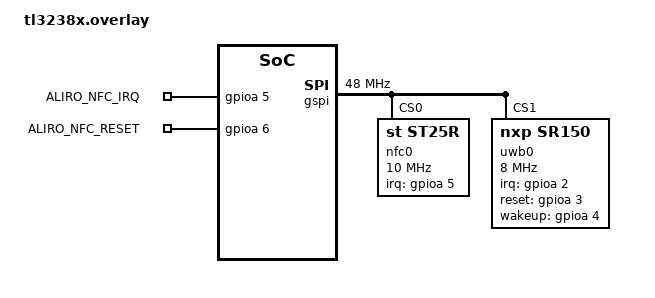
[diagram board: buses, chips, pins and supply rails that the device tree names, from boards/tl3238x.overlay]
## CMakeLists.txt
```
#
#    Copyright (c) 2023-2024 Project CHIP Authors
#
#    Licensed under the Apache License, Version 2.0 (the "License");
#    you may not use this file except in compliance with the License.
#    You may obtain a copy of the License at
#
#        http://www.apache.org/licenses/LICENSE-2.0
#
#    Unless required by applicable law or agreed to in writing, software
#    distributed under the License is distributed on an "AS IS" BASIS,
#    WITHOUT WARRANTIES OR CONDITIONS OF ANY KIND, either express or implied.
#    See the License for the specific language governing permissions and
#    limitations under the License.
#

cmake_minimum_required(VERSION 3.20)

if(POLICY CMP0135)
  cmake_policy(SET CMP0135 NEW)
endif()

include(FetchContent)

get_filename_component(CHIP_ROOT ${CMAKE_CURRENT_SOURCE_DIR}/third_party/connectedhomeip REALPATH)
get_filename_component(TELINK_COMMON ${CHIP_ROOT}/examples/platform/telink REALPATH)
get_filename_component(GEN_DIR ${CHIP_ROOT}/zzz_generated/ REALPATH)

set(TELINK_ALIRO_SDK_URL
    "https://doc.telink-semi.cn/Zephyr/binaries/public/aliro/telink-aliro-sdk-latest.tar.gz"
    CACHE STRING "Telink Aliro SDK archive URL"
)

if(FETCHCONTENT_SOURCE_DIR_TELINK_ALIRO)
  FetchContent_Declare(telink_aliro
    SOURCE_DIR "${FETCHCONTENT_SOURCE_DIR_TELINK_ALIRO}"
    SOURCE_SUBDIR cmake
  )
else()
  if(NOT TELINK_ALIRO_SDK_URL)
    message(FATAL_ERROR
      "TELINK_ALIRO_SDK_URL is not set. Provide the published SDK URL or "
      "-DFETCHCONTENT_SOURCE_DIR_TELINK_ALIRO=/path/to/telink_aliro."
    )
  endif()

  FetchContent_Declare(telink_aliro
    URL "${TELINK_ALIRO_SDK_URL}"
    TLS_VERIFY TRUE
    SOURCE_SUBDIR cmake
  )
endif()

# Populate bindings before Zephyr processes the overlay; build the SDK below.
FetchContent_MakeAvailable(telink_aliro)
list(APPEND DTS_ROOT
  "${telink_aliro_SOURCE_DIR}"
  "${telink_aliro_SOURCE_DIR}/src/drivers/st25r/zephyr"
)

set(ENV{TELINK_ALIRO_ROOT} "${telink_aliro_SOURCE_DIR}")

include(${TELINK_COMMON}/common.cmake)
include(${CHIP_ROOT}/config/telink/app/enable-gnu-std.cmake)
include(${CHIP_ROOT}/src/app/chip_data_model.cmake)

project(chip-telink-lock-aliro-minimal-example)

if(CONFIG_SOC_RISCV_TELINK_TL721X)
  if(NOT CONFIG_FLASH_SIZE EQUAL 2048)
    message(FATAL_ERROR "The Tercel application partition layout requires 2 MiB of flash")
  endif()
  if(CONFIG_BOOTLOADER_MCUBOOT OR CONFIG_CHIP_OTA_REQUESTOR OR
     CONFIG_CHIP_DFU_OVER_BT_SMP OR CONFIG_TELINK_OTA_BUTTON_TEST)
    message(FATAL_ERROR "The Tercel application uses a single-image flash layout; bootloader and OTA are not supported")
  endif()
  if(NOT CONFIG_USE_DT_CODE_PARTITION)
    message(FATAL_ERROR "Enable CONFIG_USE_DT_CODE_PARTITION to protect Tercel's factory data and Matter settings")
  endif()
endif()

if(NOT CONFIG_ALIRO_TRANSPORT_NFC AND NOT CONFIG_ALIRO_TRANSPORT_BLE)
  message(FATAL_ERROR "Enable at least one Aliro transport")
endif()

if(CONFIG_ALIRO_TRANSPORT_BLE AND CONFIG_BT_BONDABLE)
  message(FATAL_ERROR "Aliro reserves Bluetooth identity 1; set CONFIG_BT_BONDABLE=n to keep Matter on identity 0")
endif()

if(CONFIG_ALIRO_TRANSPORT_BLE AND CONFIG_SOC_RISCV_TELINK_TLX AND NOT CONFIG_IEEE802154_TLX_BLE_COEXIST)
  message(FATAL_ERROR
    "Aliro BLE requires CONFIG_IEEE802154_TLX_BLE_COEXIST=y and the matching concurrent controller. "
    "Use EXTRA_CONF_FILE=prj_ble.conf."
  )
endif()

if(CONFIG_ALIRO_TRANSPORT_NFC OR CONFIG_ALIRO_TRANSPORT_BLE)
  add_subdirectory(
    "${telink_aliro_SOURCE_DIR}/cmake/zephyr"
    "${telink_aliro_BINARY_DIR}"
  )

  target_link_libraries(app PRIVATE Telink::Aliro)
endif()

target_include_directories(app PRIVATE
  include
  ${GEN_DIR}/app-common
  ${GEN_DIR}/lock-app
  ${TELINK_COMMON}/common/include
  ${TELINK_COMMON}/util/include
  ${TELINK_COMMON}/app/include
  ${TELINK_COMMON}/zephyr_ext
)

target_sources(app PRIVATE
  src/AppTask.cpp
  src/AliroDelegate.cpp
  src/ZclCallbacks.cpp
  src/LockManager.cpp
  ${TELINK_COMMON}/common/src/mainCommon.cpp
  ${TELINK_COMMON}/common/src/AppTaskCommon.cpp
  ${TELINK_COMMON}/util/src/LEDManager.cpp
  ${TELINK_COMMON}/util/src/ButtonManager.cpp
  ${TELINK_COMMON}/util/src/ThreadUtil.cpp
  ${TELINK_COMMON}/util/src/PWMManager.cpp
  ${TELINK_COMMON}/zephyr_ext/zephyr_key_matrix.c
  ${TELINK_COMMON}/zephyr_ext/zephyr_led_pool.c
  ${TELINK_COMMON}/zephyr_ext/zephyr_pwm_pool.c
)

chip_configure_data_model(app
  ZAP_FILE ${CMAKE_CURRENT_SOURCE_DIR}/lock-app-minimal.zap
)

if(CONFIG_BOOTLOADER_MCUBOOT)
  target_sources(app PRIVATE ${TELINK_COMMON}/util/src/OTAUtil.cpp)
endif()

if(CONFIG_MCUMGR_TRANSPORT_BT)
  zephyr_library_link_libraries(MCUBOOT_BOOTUTIL)
  target_sources(app PRIVATE ${TELINK_COMMON}/util/src/DFUOverSMP.cpp)
endif()
```

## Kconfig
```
#
#    Copyright (c) 2023 Project CHIP Authors
#
#    Licensed under the Apache License, Version 2.0 (the "License");
#    you may not use this file except in compliance with the License.
#    You may obtain a copy of the License at
#
#        http://www.apache.org/licenses/LICENSE-2.0
#
#    Unless required by applicable law or agreed to in writing, software
#    distributed under the License is distributed on an "AS IS" BASIS,
#    WITHOUT WARRANTIES OR CONDITIONS OF ANY KIND, either express or implied.
#    See the License for the specific language governing permissions and
#    limitations under the License.
#
mainmenu "Matter Telink Lock Example Application"

# Tercel's app-local partition map reserves factory data and Matter settings.
config HAS_FLASH_LOAD_OFFSET
    default y if SOC_RISCV_TELINK_TL721X

config USE_DT_CODE_PARTITION
    default y if SOC_RISCV_TELINK_TL721X

config SETTINGS_NVS_NAME_CACHE
    default y

config SETTINGS_NVS_NAME_CACHE_SIZE
    default 256

config ALIRO_CSA_BLE_TEST_CREDENTIALS
    default n

menu "Aliro configuration"

config ALIRO_TRANSPORT_NFC
    default y
    select GPIO
    select SPI


config ALIRO_TRANSPORT_BLE
    default n if SOC_RISCV_TELINK_TL323X
    default y if SOC_RISCV_TELINK_TL721X
    select BT
    select GPIO
    select SPI
    select BT_PERIPHERAL
    select BT_HOST_CRYPTO
    select BT_SMP
    select BT_L2CAP_DYNAMIC_CHANNEL
    # BLE enables PSA crypto; Matter's CSR signing needs deterministic ECDSA.
    select PSA_WANT_ALG_DETERMINISTIC_ECDSA
config ALIRO_ONLY_BLE_FLOW_SUPP
    default y

config ALIRO_BLE_UWB_FLOW_SUPP
    default y

config ALIRO_NFC_POLLER_THREAD_STACK_SIZE
    default 4096

config ALIRO_LOG_LEVEL
    range 0 4
    default 3
    help
      Keep protocol logging at informational level for normal builds. Level 4
      exposes ephemeral and derived transaction keys and is for controlled
      development only.
config ALIRO_FAST_TRANSACTION
    default n

config ALIRO_KEYSLOT_CREDENTIALS
    default n

endmenu

rsource "../../../config/telink/chip-module/Kconfig.defaults"

source "$(TELINK_ALIRO_ROOT)/Kconfig"
```

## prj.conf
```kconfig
#
#    Copyright (c) 2023-2024 Project CHIP Authors
#
#    Licensed under the Apache License, Version 2.0 (the "License");
#    you may not use this file except in compliance with the License.
#    You may obtain a copy of the License at
#
#        http://www.apache.org/licenses/LICENSE-2.0
#
#    Unless required by applicable law or agreed to in writing, software
#    distributed under the License is distributed on an "AS IS" BASIS,
#    WITHOUT WARRANTIES OR CONDITIONS OF ANY KIND, either express or implied.
#    See the License for the specific language governing permissions and
#    limitations under the License.
#

# This sample uses Kconfig.defaults to set options common for all
# samples. This file should contain only options specific for this sample
# or overrides of default values.

# Enable CHIP
CONFIG_CHIP=y
CONFIG_STD_CPP17=y

# 32774 == 0x8006 (example lock-app)
CONFIG_CHIP_DEVICE_PRODUCT_ID=32774

CONFIG_BT_DEVICE_NAME="TelinkAliro"

# Disable Matter OTA DFU
CONFIG_CHIP_OTA_REQUESTOR=n
CONFIG_CHIP_DEVICE_SOFTWARE_VERSION=1

# Disable CHIP shell support
CONFIG_CHIP_LIB_SHELL=n

CONFIG_CHIP_PERSISTENT_SUBSCRIPTIONS=y
CONFIG_CHIP_MAX_FABRICS=2

# Disable factory data support
CONFIG_CHIP_FACTORY_DATA=n
CONFIG_CHIP_FACTORY_DATA_BUILD=n
CONFIG_CHIP_FACTORY_DATA_MERGE_WITH_FIRMWARE=n

# Telink PM integration is a separate pass from Aliro linkability.
CONFIG_PM=n
CONFIG_CHIP_THREAD_DEVICE_ROLE_END_DEVICE=y

CONFIG_ALIRO_LOG_LEVEL=4
CONFIG_ALIRO_FAST_TRANSACTION=n
CONFIG_ALIRO_KEYSLOT_CREDENTIALS=n
CONFIG_BT_MAX_CONN=1

# Match the TL3238 production BLE controller sizing. The common defaults on
# this branch otherwise fall through to 712 bytes and overflow in bt_hci_recv().
CONFIG_TL_BLE_CTRL_THREAD_STACK_SIZE=1536

# NFC frontend support used by the Aliro ECP poller.

# Aliro crypto requirements not already guaranteed by Matter defaults.
CONFIG_MBEDTLS_SHA1=y
CONFIG_MBEDTLS_HMAC_DRBG_ENABLED=y
CONFIG_MBEDTLS_MD=y
CONFIG_MBEDTLS_CIPHER_GCM_ENABLED=y

# Keep Matter's standard Telink malloc arena. Reducing this to 16 KiB exhausts
# the libc heap during Operational Credentials CSR generation.
CONFIG_COMMON_LIBC_MALLOC_ARENA_SIZE=26584
CONFIG_HEAP_MEM_POOL_SIZE=1796

# Probe-only RAM trims. These need product validation before becoming real defaults.
CONFIG_MAIN_STACK_SIZE=3560
CONFIG_SYSTEM_WORKQUEUE_STACK_SIZE=1024

# SRP/DNS-SD service publication can exceed 2 KiB with multiple fabrics. The
# previous RAM-trim value produced a confirmed Zephyr stack-sentinel fault in
# the OpenThread thread.
CONFIG_OPENTHREAD_THREAD_STACK_SIZE=4096
CONFIG_OPENTHREAD_NUM_MESSAGE_BUFFERS=32

CONFIG_NET_PKT_RX_COUNT=4
CONFIG_NET_PKT_TX_COUNT=4
CONFIG_NET_BUF_RX_COUNT=8
# A full ecosystem subscription report requires more than eight 128-byte
# fragments. Keep the standard Telink lock-app TX buffer count.
CONFIG_NET_BUF_TX_COUNT=12

CONFIG_NVS_LOOKUP_CACHE_SIZE=128
CONFIG_SETTINGS_NVS_NAME_CACHE_SIZE=64
CONFIG_SETTINGS_NVS_SECTOR_COUNT=4

# Preload the public CSA Test Tool credentials used for BLE-only/BLE+UWB scenarios.
CONFIG_ALIRO_CSA_BLE_TEST_CREDENTIALS=y

# BLE
CONFIG_ALIRO_BT_POLLER_THREAD_STACK_SIZE=4096
CONFIG_TL_BLE_CTRL_SLAVE_MAX_NUM=1
CONFIG_BT_ID_MAX=2
CONFIG_BT_BONDABLE=n
CONFIG_BT_EXT_ADV=n
CONFIG_BT_AUTO_PHY_UPDATE=n
CONFIG_BT_L2CAP_SEG_RECV=y
CONFIG_BT_L2CAP_TX_MTU=247
CONFIG_BT_BUF_EVT_RX_SIZE=255
CONFIG_BT_BUF_ACL_RX_SIZE=255
CONFIG_BT_BUF_ACL_TX_SIZE=251
CONFIG_BT_BUF_CMD_TX_SIZE=255

# Aliro APDU transport uses a dynamically allocated LE L2CAP channel.
CONFIG_BT_L2CAP_DYNAMIC_CHANNEL=y
# The RX callback copies a complete Aliro frame into the reader's queue.
CONFIG_BT_RX_STACK_SIZE=3072

# Run BLE and Thread concurrently on the Telink controller.
CONFIG_IEEE802154_TLX_BLE_COEXIST=y
CONFIG_DYNAMIC_INTERRUPTS=y
CONFIG_TL_BLE_CTRL_THREAD_STACK_SIZE=8192

# Transport types
# CONFIG_ALIRO_TRANSPORT_NFC=y
# CONFIG_ALIRO_TRANSPORT_BLE=y
# CONFIG_ALIRO_ONLY_BLE_FLOW_SUPP=y
# CONFIG_ALIRO_BLE_UWB_FLOW_SUPP=y
```

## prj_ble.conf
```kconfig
# Aliro BLE transport configuration for TL7218X.
CONFIG_ALIRO_TRANSPORT_NFC=n
CONFIG_ALIRO_TRANSPORT_BLE=y
CONFIG_ALIRO_BT_POLLER_THREAD_STACK_SIZE=4096
CONFIG_ALIRO_FAST_TRANSACTION=n

# Preload the public CSA Test Tool credentials used by this Stage 2 BLE release.
CONFIG_ALIRO_CSA_TEST_CREDENTIALS=y

# Matter and Aliro use separate Bluetooth identities.
CONFIG_BT_MAX_CONN=1
CONFIG_TL_BLE_CTRL_SLAVE_MAX_NUM=1
CONFIG_BT_ID_MAX=2
CONFIG_BT_BONDABLE=n
CONFIG_BT_EXT_ADV=n

# Aliro APDU transport uses a dynamically allocated LE L2CAP channel.
CONFIG_BT_L2CAP_DYNAMIC_CHANNEL=y
# The RX callback copies a complete Aliro frame into the reader's queue.
CONFIG_BT_RX_STACK_SIZE=3072

# Run BLE and Thread concurrently on the Telink controller.
CONFIG_IEEE802154_TLX_BLE_COEXIST=y
CONFIG_DYNAMIC_INTERRUPTS=y
CONFIG_TL_BLE_CTRL_THREAD_STACK_SIZE=8192
```

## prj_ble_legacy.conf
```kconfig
# TL7218X standard RKE using the existing single-advertiser controller.
# Use instead of prj_ble.conf. Matter commissioning takes advertising priority;
# Aliro advertises after commissioning closes, while Matter runs over Thread.
CONFIG_ALIRO_TRANSPORT_NFC=n
CONFIG_ALIRO_TRANSPORT_BLE=y
CONFIG_ALIRO_FAST_TRANSACTION=n
CONFIG_ALIRO_BT_POLLER_THREAD_STACK_SIZE=4096

CONFIG_BT_MAX_CONN=1
CONFIG_TL_BLE_CTRL_SLAVE_MAX_NUM=1
CONFIG_BT_ID_MAX=2
CONFIG_BT_BONDABLE=n
CONFIG_BT_EXT_ADV=n
CONFIG_BT_L2CAP_DYNAMIC_CHANNEL=y
CONFIG_BT_RX_STACK_SIZE=3072

# BLE and Thread still share the radio, even with a single BLE advertiser.
CONFIG_IEEE802154_TLX_BLE_COEXIST=y
CONFIG_DYNAMIC_INTERRUPTS=y
CONFIG_TL_BLE_CTRL_THREAD_STACK_SIZE=8192
```

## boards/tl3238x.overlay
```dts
/ {
	aliases {
		gspi-0 = &gspi;
		fmirq = &aliro_nfc_irq;
		fmreset = &aliro_nfc_reset;
	};

	keys {
		compatible = "gpio-keys";

		aliro_nfc_irq: aliro_nfc_irq {
			label = "ALIRO_NFC_IRQ";
			gpios = <&gpioa 5 (GPIO_ACTIVE_HIGH | GPIO_PULL_DOWN)>;
		};
	};

	leds {
		compatible = "gpio-leds";

		aliro_nfc_reset: aliro_nfc_reset {
			label = "ALIRO_NFC_RESET";
			gpios = <&gpioa 6 GPIO_ACTIVE_HIGH>;
		};
	};

	led_pool {
		out {
			gpios = <&gpioc 0 GPIO_ACTIVE_HIGH>,
				<&gpioc 1 GPIO_ACTIVE_HIGH>;
		};
	};
};

&gpioa {
	interrupts = <39 1>;
	status = "okay";
};

&gspi {
	clock-frequency = <48000000>;
	label = "SPI_0";

	cs0-pin = "GPIO_PE4";
	cs1-pin = "GPIO_PA1";

	nfc0: st25r@0 {
		compatible = "st,st25r";
		reg = <0>;
		spi-max-frequency = <10000000>;
		irq-gpios = <&gpioa 5 (GPIO_ACTIVE_HIGH | GPIO_PULL_DOWN)>;
	};

	uwb0: sr150@1 {
		compatible = "nxp,sr150";
		reg = <1>;
		spi-max-frequency = <8000000>;
		irq-gpios = <&gpioa 2 (GPIO_ACTIVE_HIGH | GPIO_PULL_DOWN)>;
		reset-gpios = <&gpioa 3 GPIO_ACTIVE_HIGH>;
		wakeup-gpios = <&gpioa 4 GPIO_ACTIVE_HIGH>;
	};
};

/ {
	soc {
		/delete-node/ memory@68000;
		/delete-node/ memory@80000;

		ram_ilm: memory@68000 {
			compatible = "mmio-sram";
			reg = <0x00068000 0x00020000>;
		};

		ram_ilm_non_retention: memory@88000 {
			compatible = "mmio-sram";
			reg = <0x00088000 0x00008000>;
		};
	};

	chosen {
		zephyr,sram = &ram_ilm;
	};
};
```

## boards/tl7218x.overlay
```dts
/ {
	aliases {
		fmirq = &aliro_nfc_irq;
		fmreset = &aliro_nfc_reset;
	};

	keys {
		compatible = "gpio-keys";

		aliro_nfc_irq: aliro_nfc_irq {
			label = "ALIRO_NFC_IRQ";
			gpios = <&gpiod 0 (GPIO_ACTIVE_HIGH | GPIO_PULL_DOWN)>;
		};
	};

	leds {
		compatible = "gpio-leds";

		aliro_nfc_reset: aliro_nfc_reset {
			gpios = <&gpiod 1 GPIO_ACTIVE_HIGH>;
			label = "ALIRO_NFC_RESET";
		};
	};
};

&gpioc {
	interrupts = <27 1>;
	status = "okay";
};

&lspi {
	nfc0: st25r@0 {
		compatible = "st,st25r";
		reg = <0>;
		spi-max-frequency = <10000000>;
		irq-gpios = <&gpiod 0 (GPIO_ACTIVE_HIGH | GPIO_PULL_DOWN)>;
	};
};

&gspi {
	uwb0: sr150@0 {
		compatible = "nxp,sr150";
		reg = <0>;
		spi-max-frequency = <8000000>;
		irq-gpios = <&gpioc 4 (GPIO_ACTIVE_HIGH | GPIO_PULL_DOWN)>;
		reset-gpios = <&gpioc 5 GPIO_ACTIVE_HIGH>;
		wakeup-gpios = <&gpioc 6 GPIO_ACTIVE_HIGH>;
	};
};

/* one application image with OTA disabled, including SR150 firmware. */
&flash {
	/delete-node/ partitions;
	partitions {
		compatible = "fixed-partitions";
		#address-cells = <1>;
		#size-cells = <1>;

		slot0_partition: partition@0 {
			label = "image-0";
			reg = <0x0 0x1f1000>;
		};

		factory_partition: partition@1f1000 {
			label = "factory-data";
			reg = <0x1f1000 0x1000>;
		};

		storage_partition: partition@1f2000 {
			label = "storage";
			reg = <0x1f2000 0xc000>;
		};

		vendor_partition: partition@1fe000 {
			label = "vendor-data";
			reg = <0x1fe000 0x2000>;
		};
	};
};
```

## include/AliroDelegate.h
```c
/*
 *
 *    Copyright (c) 2026 Project CHIP Authors
 *    All rights reserved.
 *
 *    Licensed under the Apache License, Version 2.0 (the "License");
 *    you may not use this file except in compliance with the License.
 *    You may obtain a copy of the License at
 *
 *        http://www.apache.org/licenses/LICENSE-2.0
 *
 *    Unless required by applicable law or agreed to in writing, software
 *    distributed under the License is distributed on an "AS IS" BASIS,
 *    WITHOUT WARRANTIES OR CONDITIONS OF ANY KIND, either express or implied.
 *    See the License for the specific language governing permissions and
 *    limitations under the License.
 */

#pragma once

#include <AppConfig.h>
#include <app/clusters/door-lock-server/door-lock-delegate.h>
#include <app/clusters/door-lock-server/door-lock-server.h>

class AliroDelegate : public chip::app::Clusters::DoorLock::Delegate
{
public:
    static AliroDelegate & GetInstance() { return sInstance; }

    AliroDelegate(const AliroDelegate &)             = delete;
    AliroDelegate & operator=(const AliroDelegate &) = delete;

    // DoorLock::Delegate interface
    CHIP_ERROR GetAliroReaderVerificationKey(chip::MutableByteSpan & verificationKey) override;
    CHIP_ERROR GetAliroReaderGroupIdentifier(chip::MutableByteSpan & groupIdentifier) override;
    CHIP_ERROR GetAliroReaderGroupSubIdentifier(chip::MutableByteSpan & groupSubIdentifier) override;
    CHIP_ERROR GetAliroExpeditedTransactionSupportedProtocolVersionAtIndex(size_t index,
                                                                           chip::MutableByteSpan & protocolVersion) override;
    CHIP_ERROR GetAliroGroupResolvingKey(chip::MutableByteSpan & groupResolvingKey) override;
    CHIP_ERROR GetAliroSupportedBLEUWBProtocolVersionAtIndex(size_t index, chip::MutableByteSpan & protocolVersion) override;
    uint8_t GetAliroBLEAdvertisingVersion() override;
    uint16_t GetNumberOfAliroCredentialIssuerKeysSupported() override;
    uint16_t GetNumberOfAliroEndpointKeysSupported() override;
    CHIP_ERROR SetAliroReaderConfig(const chip::ByteSpan & signingKey, const chip::ByteSpan & verificationKey,
                                    const chip::ByteSpan & groupIdentifier,
                                    const chip::Optional<chip::ByteSpan> & groupResolvingKey) override;
    CHIP_ERROR ClearAliroReaderConfig() override;

    CHIP_ERROR RestoreAliroState();
    CHIP_ERROR StartAliroTransports();

    // Aliro credential storage - called from LockManager
    static bool IsAliroCredentialType(CredentialTypeEnum type);
    bool GetCredential(uint16_t index, CredentialTypeEnum type, EmberAfPluginDoorLockCredentialInfo & out);
    bool SetCredential(uint16_t index, chip::FabricIndex creator, chip::FabricIndex modifier, DlCredentialStatus status,
                       CredentialTypeEnum type, const chip::ByteSpan & data);
    bool FindEndpointKey(const chip::ByteSpan & key, CredentialTypeEnum & type, uint16_t & index) const;
    bool HasEndpointKey(CredentialTypeEnum type, uint16_t index) const;

private:
    AliroDelegate() = default;

    CHIP_ERROR CopyProtocolVersionIntoSpan(uint16_t protocolVersionValue, chip::MutableByteSpan & protocolVersion);

    // Aliro provisioning state
    uint8_t mAliroReaderVerificationKey[chip::app::Clusters::DoorLock::kAliroReaderVerificationKeySize];
    uint8_t mAliroReaderGroupIdentifier[chip::app::Clusters::DoorLock::kAliroReaderGroupIdentifierSize];
    uint8_t mAliroReaderGroupSubIdentifier[chip::app::Clusters::DoorLock::kAliroReaderGroupSubIdentifierSize];
    uint8_t mAliroGroupResolvingKey[chip::app::Clusters::DoorLock::kAliroGroupResolvingKeySize];
    bool mAliroStateInitialized = false;
    bool mAliroHasGroupResolvingKey = false;
    bool mAliroStorageRestored = false;
    bool mAliroNfcStarted = false;
    bool mAliroBleStarted = false;

    // Aliro credential cache, backed by persistent storage
    static constexpr size_t kAliroCredentialMaxSize = 65;

    struct CredentialSlot
    {
        DlCredentialStatus status             = DlCredentialStatus::kAvailable;
        CredentialTypeEnum type               = CredentialTypeEnum::kUnknownEnumValue;
        uint16_t index                        = 0;
        chip::FabricIndex createdBy           = 0;
        chip::FabricIndex lastModifiedBy      = 0;
        size_t dataSize                       = 0;
        uint8_t data[kAliroCredentialMaxSize] = { 0 };
    };

    static bool IsEndpointCredentialType(CredentialTypeEnum type);
    CredentialSlot * FindSlot(uint16_t index, CredentialTypeEnum type);
    const CredentialSlot * FindSlot(uint16_t index, CredentialTypeEnum type) const;
    CredentialSlot * FindAvailableEndpointSlot();
    size_t SlotCountForType(CredentialTypeEnum type) const;

    CredentialSlot mIssuerKeys[APP_MAX_ALIRO_ISSUER_KEYS];
    CredentialSlot mEndpointKeys[APP_MAX_ALIRO_ENDPOINT_KEYS];

    static AliroDelegate sInstance;
};
```

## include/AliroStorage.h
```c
/*
 *
 *    Copyright (c) 2026 Project CHIP Authors
 *    All rights reserved.
 *
 *    Licensed under the Apache License, Version 2.0 (the "License");
 *    you may not use this file except in compliance with the License.
 *    You may obtain a copy of the License at
 *
 *        http://www.apache.org/licenses/LICENSE-2.0
 *
 *    Unless required by applicable law or agreed to in writing, software
 *    distributed under the License is distributed on an "AS IS" BASIS,
 *    WITHOUT WARRANTIES OR CONDITIONS OF ANY KIND, either express or implied.
 *    See the License for the specific language governing permissions and
 *    limitations under the License.
 */

#pragma once

#include <lib/core/CHIPError.h>
#include <platform/KeyValueStoreManager.h>
#include <stddef.h>
#include <stdint.h>

namespace AliroStorage {

constexpr uint32_t kRecordVersion = 1;
constexpr size_t kSigningKeySize = 32;
constexpr char kReaderConfigKey[] = "aliro/reader";

struct ReaderConfig
{
    uint32_t version;
    uint8_t signingKey[kSigningKeySize];
    uint8_t verificationKey[65];
    uint8_t groupIdentifier[16];
    uint8_t groupSubIdentifier[16];
    uint8_t groupResolvingKey[16];
    uint8_t hasGroupResolvingKey;
};

struct Credential
{
    uint32_t version;
    uint16_t index;
    uint16_t dataSize;
    uint8_t type;
    uint8_t status;
    uint8_t createdBy;
    uint8_t lastModifiedBy;
    uint8_t data[65];
};

inline CHIP_ERROR Load(const char * key, void * data, size_t size)
{
    size_t outSize = 0;
    CHIP_ERROR err = chip::DeviceLayer::PersistedStorage::KeyValueStoreMgr().Get(key, data, size, &outSize);

    if (err == CHIP_NO_ERROR && outSize != size)
    {
        return CHIP_ERROR_INVALID_ARGUMENT;
    }

    return err;
}

inline CHIP_ERROR Save(const char * key, const void * data, size_t size)
{
    return chip::DeviceLayer::PersistedStorage::KeyValueStoreMgr().Put(key, data, size);
}

inline CHIP_ERROR Remove(const char * key)
{
    CHIP_ERROR err = chip::DeviceLayer::PersistedStorage::KeyValueStoreMgr().Delete(key);

    return err == CHIP_ERROR_PERSISTED_STORAGE_VALUE_NOT_FOUND ? CHIP_NO_ERROR : err;
}

} // namespace AliroStorage
```

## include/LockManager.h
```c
/*
 *
 *    Copyright (c) 2023-2026 Project CHIP Authors
 *    All rights reserved.
 *
 *    Licensed under the Apache License, Version 2.0 (the "License");
 *    you may not use this file except in compliance with the License.
 *    You may obtain a copy of the License at
 *
 *        http://www.apache.org/licenses/LICENSE-2.0
 *
 *    Unless required by applicable law or agreed to in writing, software
 *    distributed under the License is distributed on an "AS IS" BASIS,
 *    WITHOUT WARRANTIES OR CONDITIONS OF ANY KIND, either express or implied.
 *    See the License for the specific language governing permissions and
 *    limitations under the License.
 */

#pragma once

#include <AppConfig.h>
#include <AppEventCommon.h>
#include <app/clusters/door-lock-server/door-lock-server.h>
#include <app/data-model/Nullable.h>
#include <lib/core/CHIPError.h>
#include <zephyr/kernel.h>

class LockManager
{
public:
    using CredentialRuleEnum = chip::app::Clusters::DoorLock::CredentialRuleEnum;
    using CredentialStruct   = chip::app::Clusters::DoorLock::Structs::CredentialStruct::Type;
    using CredentialTypeEnum = chip::app::Clusters::DoorLock::CredentialTypeEnum;
    using DlCredentialStatus = ::DlCredentialStatus;
    using DlLockState        = chip::app::Clusters::DoorLock::DlLockState;
    using OperationErrorEnum = chip::app::Clusters::DoorLock::OperationErrorEnum;
    using OperationSource    = chip::app::Clusters::DoorLock::OperationSourceEnum;
    using UserStatusEnum     = chip::app::Clusters::DoorLock::UserStatusEnum;
    using UserTypeEnum       = chip::app::Clusters::DoorLock::UserTypeEnum;

    enum Action_t
    {
        LOCK_ACTION = 0,
        UNLOCK_ACTION,
        INVALID_ACTION
    };

    enum State_t
    {
        kState_LockInitiated = 0,
        kState_LockCompleted,
        kState_UnlockInitiated,
        kState_UnlockCompleted,
        kState_NotFulyLocked
    };

    using StateChangeCallback = void (*)(State_t);

    CHIP_ERROR Init(chip::app::DataModel::Nullable<DlLockState> state, StateChangeCallback callback);
    CHIP_ERROR RestoreUsers();

    bool LockAction(int32_t appSource, Action_t action, OperationSource source, chip::EndpointId endpointId);
    bool LockAction(int32_t appSource, Action_t action, OperationSource source, chip::EndpointId endpointId,
                    OperationErrorEnum & err,
                    const chip::app::DataModel::Nullable<chip::FabricIndex> & fabricIdx = chip::app::DataModel::NullNullable,
                    const chip::app::DataModel::Nullable<chip::NodeId> & nodeId         = chip::app::DataModel::NullNullable,
                    const chip::Optional<chip::ByteSpan> & pinCode                      = chip::NullOptional);

    bool IsLocked() const { return mState == kState_LockCompleted; }
    State_t getLockState() const { return mState; }

    bool GetUser(chip::EndpointId endpointId, uint16_t userIndex, EmberAfPluginDoorLockUserInfo & user);
    bool SetUser(chip::EndpointId endpointId, uint16_t userIndex, chip::FabricIndex creator, chip::FabricIndex modifier,
                 const chip::CharSpan & userName, uint32_t uniqueId, UserStatusEnum userStatus, UserTypeEnum userType,
                 CredentialRuleEnum credentialRule, const CredentialStruct * credentials, size_t totalCredentials);

    bool GetCredential(chip::EndpointId endpointId, uint16_t credentialIndex, CredentialTypeEnum credentialType,
                       EmberAfPluginDoorLockCredentialInfo & credential);
    bool SetCredential(chip::EndpointId endpointId, uint16_t credentialIndex, chip::FabricIndex creator, chip::FabricIndex modifier,
                       DlCredentialStatus credentialStatus, CredentialTypeEnum credentialType,
                       const chip::ByteSpan & credentialData);
    bool ValidateAliroEndpointKey(const chip::ByteSpan & key) const;
    bool HasAliroAuthorizedEndpoint() const;

private:
    struct UserSlot
    {
        char name[DOOR_LOCK_USER_NAME_BUFFER_SIZE]                 = {};
        CredentialStruct credentials[APP_MAX_CREDENTIALS_PER_USER] = {};
        size_t credentialCount                                     = 0;
        uint32_t uniqueId                                          = 0;
        UserStatusEnum status                                      = UserStatusEnum::kAvailable;
        UserTypeEnum type                                          = UserTypeEnum::kUnrestrictedUser;
        CredentialRuleEnum credentialRule                          = CredentialRuleEnum::kSingle;
        chip::FabricIndex createdBy                                = 0;
        chip::FabricIndex lastModifiedBy                           = 0;
    };

    struct PinCredentialSlot
    {
        DlCredentialStatus status        = DlCredentialStatus::kAvailable;
        chip::FabricIndex createdBy      = 0;
        chip::FabricIndex lastModifiedBy = 0;
        size_t dataSize                  = 0;
        uint8_t data[8]                  = {};
    };

    friend LockManager & LockMgr();

    bool StartAction(Action_t action, OperationSource source, chip::EndpointId endpointId,
                     const chip::app::DataModel::Nullable<chip::FabricIndex> & fabricIdx,
                     const chip::app::DataModel::Nullable<chip::NodeId> & nodeId);
    static void ActuatorTimerEventHandler(chip::System::Layer * layer, void * context);

    static LockManager sLock;
    State_t mState                                             = kState_NotFulyLocked;
    StateChangeCallback mStateChangeCallback                   = nullptr;
    UserSlot mUsers[APP_MAX_USERS]                             = {};
    PinCredentialSlot mPinCredentials[APP_MAX_PIN_CREDENTIALS] = {};
};

inline LockManager & LockMgr()
{
    return LockManager::sLock;
}
```

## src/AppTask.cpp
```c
/*
 *
 *    Copyright (c) 2026 Project CHIP Authors
 *    All rights reserved.
 *
 *    Licensed under the Apache License, Version 2.0 (the "License");
 *    you may not use this file except in compliance with the License.
 *    You may obtain a copy of the License at
 *
 *        http://www.apache.org/licenses/LICENSE-2.0
 *
 *    Unless required by applicable law or agreed to in writing, software
 *    distributed under the License is distributed on an "AS IS" BASIS,
 *    WITHOUT WARRANTIES OR CONDITIONS OF ANY KIND, either express or implied.
 *    See the License for the specific language governing permissions and
 *    limitations under the License.
 */

#include "AppTask.h"
#include "AliroDelegate.h"
#include "ButtonManager.h"
#include "LEDManager.h"
#include <LockManager.h>
#include <app-common/zap-generated/attributes/Accessors.h>
#include <app/data-model/Nullable.h>
#include <app/server/Server.h>
#include <errno.h>
#include <zephyr/sys/atomic.h>

#if CONFIG_ALIRO_TRANSPORT_BLE
#include <platform/Zephyr/BLEAdvertisingArbiter.h>
#include <system/SystemError.h>
#endif

LOG_MODULE_DECLARE(app, CONFIG_CHIP_APP_LOG_LEVEL);

using namespace ::chip::app::Clusters::DoorLock;
using namespace chip;
using namespace chip::app;
using namespace ::chip::DeviceLayer;
using namespace ::chip::DeviceLayer::Internal;

AppTask AppTask::sAppTask;

namespace {
constexpr atomic_val_t kNoPendingAliroAction = -1;
atomic_t sPendingAliroState                 = kNoPendingAliroAction;

void ApplyAliroLockState(intptr_t argument)
{
    const auto state = static_cast<telink_aliro_lock_state>(argument);
    LockManager::Action_t action;

    switch (state)
    {
    case TELINK_ALIRO_LOCK_STATE_SECURED:
        action = LockManager::LOCK_ACTION;
        break;
    case TELINK_ALIRO_LOCK_STATE_UNSECURED:
        action = LockManager::UNLOCK_ACTION;
        break;
    default:
        LOG_ERR("Invalid scheduled Aliro lock state: %u", static_cast<unsigned>(state));
        atomic_set(&sPendingAliroState, kNoPendingAliroAction);
        return;
    }

    LOG_INF("Applying authenticated Aliro RKE action on Matter thread: %s",
            state == TELINK_ALIRO_LOCK_STATE_SECURED ? "SECURED" : "UNSECURED");

    if (!LockMgr().LockAction(AppEvent::kEventType_DeviceAction, action, LockManager::OperationSource::kAliro,
                              kExampleEndpointId))
    {
        LOG_ERR("Aliro lock action failed");
    }

    atomic_set(&sPendingAliroState, kNoPendingAliroAction);
}

#if CONFIG_ALIRO_TRANSPORT_BLE

uint8_t sAliroServiceData[26];
constexpr uint8_t kAliroAdvertisingFlags[] = { BT_LE_AD_GENERAL | BT_LE_AD_NO_BREDR };

#if CONFIG_BT_EXT_ADV

struct bt_le_ext_adv * sAliroExtAdvertising;

#else

const bt_data kAliroAdvertisingData[] = {
    BT_DATA(BT_DATA_FLAGS, kAliroAdvertisingFlags, sizeof(kAliroAdvertisingFlags)),
    BT_DATA(BT_DATA_SVC_DATA16, sAliroServiceData, sizeof(sAliroServiceData)),
};

const bt_data kAliroScanResponseData[] = {
    BT_DATA(BT_DATA_UUID16_SOME, sAliroServiceData, 2),
    BT_DATA(BT_DATA_NAME_COMPLETE, CONFIG_BT_DEVICE_NAME, sizeof(CONFIG_BT_DEVICE_NAME) - 1),
};

static_assert(4 + 2 + sizeof(CONFIG_BT_DEVICE_NAME) - 1 <= 31, "Aliro scan response exceeds the 31-byte limit");

BLEAdvertisingArbiter::Request sAliroAdvertisingRequest = {};

#endif

int StartAliroAdvertising(uint8_t identity, const uint8_t * serviceData, size_t size)
{
    if (serviceData == nullptr || size != sizeof(sAliroServiceData))
    {
        return -EINVAL;
    }

    memcpy(sAliroServiceData, serviceData, size);

#if CONFIG_BT_EXT_ADV

    const bt_data advertisingData[] = {
        BT_DATA(BT_DATA_FLAGS, kAliroAdvertisingFlags, sizeof(kAliroAdvertisingFlags)),
        BT_DATA(BT_DATA_SVC_DATA16, sAliroServiceData, sizeof(sAliroServiceData)),
        BT_DATA(BT_DATA_UUID16_SOME, sAliroServiceData, 2),
        BT_DATA(BT_DATA_NAME_COMPLETE, CONFIG_BT_DEVICE_NAME, sizeof(CONFIG_BT_DEVICE_NAME) - 1),
    };

    bt_le_adv_param advertisingParameters = {};

    advertisingParameters.id           = identity;
    advertisingParameters.sid          = 0;
    advertisingParameters.options      = BT_LE_ADV_OPT_CONN | BT_LE_ADV_OPT_USE_IDENTITY | BT_LE_ADV_OPT_EXT_ADV;
    advertisingParameters.interval_min = BT_GAP_ADV_FAST_INT_MIN_2;
    advertisingParameters.interval_max = BT_GAP_ADV_FAST_INT_MAX_2;

    int err = bt_le_ext_adv_create(&advertisingParameters, nullptr, &sAliroExtAdvertising);
    if (err != 0)
    {
        return err;
    }

    err = bt_le_ext_adv_set_data(sAliroExtAdvertising, advertisingData, ARRAY_SIZE(advertisingData), nullptr, 0);
    if (err != 0)
    {
        (void) bt_le_ext_adv_delete(sAliroExtAdvertising);
        sAliroExtAdvertising = nullptr;
        return err;
    }

    bt_le_ext_adv_start_param startParameters = {};

    err = bt_le_ext_adv_start(sAliroExtAdvertising, &startParameters);
    if (err != 0)
    {
        (void) bt_le_ext_adv_delete(sAliroExtAdvertising);
        sAliroExtAdvertising = nullptr;
        return err;
    }

    LOG_INF("Aliro BLE advertising started");

    return 0;

#else

    sAliroAdvertisingRequest.priority         = UINT8_MAX;
    sAliroAdvertisingRequest.options          = BT_LE_ADV_OPT_CONN | BT_LE_ADV_OPT_USE_IDENTITY;
    sAliroAdvertisingRequest.minInterval      = BT_GAP_ADV_FAST_INT_MIN_2;
    sAliroAdvertisingRequest.maxInterval      = BT_GAP_ADV_FAST_INT_MAX_2;
    sAliroAdvertisingRequest.advertisingData  = Span<const bt_data>(kAliroAdvertisingData);
    sAliroAdvertisingRequest.scanResponseData = Span<const bt_data>(kAliroScanResponseData);
    sAliroAdvertisingRequest.identity         = identity;
    sAliroAdvertisingRequest.useIdentity      = true;
    sAliroAdvertisingRequest.onStarted        = [](int result) {
        if (result == 0)
        {
            LOG_INF("Aliro BLE advertising started");
        }
        else if (result != -ENOMEM)
        {
            LOG_ERR("Aliro BLE advertising request failed: %d", result);
        }
    };

    CHIP_ERROR err = BLEAdvertisingArbiter::InsertRequest(sAliroAdvertisingRequest);

    if (err == CHIP_NO_ERROR || err == System::MapErrorZephyr(-ENOMEM))
    {
        return 0;
    }

    BLEAdvertisingArbiter::CancelRequest(sAliroAdvertisingRequest);

    return -EIO;

#endif
}

int StopAliroAdvertising()
{
#if CONFIG_BT_EXT_ADV

    if (sAliroExtAdvertising == nullptr)
    {
        return 0;
    }

    int err = bt_le_ext_adv_stop(sAliroExtAdvertising);
    if (err != 0)
    {
        return err;
    }

    err = bt_le_ext_adv_delete(sAliroExtAdvertising);
    if (err != 0)
    {
        return err;
    }

    sAliroExtAdvertising = nullptr;

    return 0;

#else
    BLEAdvertisingArbiter::CancelRequest(sAliroAdvertisingRequest);

    return 0;
#endif
}

#endif /* CONFIG_ALIRO_TRANSPORT_BLE */

} // namespace

CHIP_ERROR AppTask::Init(void)
{
    SetExampleButtonCallbacks(LockActionEventHandler);
    ReturnErrorOnFailure(InitCommonParts());

    LedManager::getInstance().setLed(LedManager::EAppLed_App0, LockMgr().IsLocked());

    chip::app::DataModel::Nullable<chip::app::Clusters::DoorLock::DlLockState> state;
    chip::EndpointId endpointId{ kExampleEndpointId };
    chip::DeviceLayer::PlatformMgr().LockChipStack();
    chip::app::Clusters::DoorLock::Attributes::LockState::Get(endpointId, state);

    chip::DeviceLayer::PlatformMgr().UnlockChipStack();

    CHIP_ERROR err = LockMgr().Init(state, LockStateChanged);

    if (err != CHIP_NO_ERROR)
    {
        LOG_ERR("LockMgr().Init() failed");
        return err;
    }

    ReturnErrorOnFailure(DoorLockServer::Instance().SetDelegate(kExampleEndpointId, &AliroDelegate::GetInstance()));

    telink_aliro_callbacks aliroCallbacks = {};
    aliroCallbacks.get_lock_state             = GetAliroLockState;
    aliroCallbacks.request_lock_state         = RequestAliroLockState;
    aliroCallbacks.authorize_endpoint         = AuthorizeAliroEndpoint;

    if (telink_aliro_init(&aliroCallbacks) != 0)
    {
        LOG_ERR("Aliro reader initialization failed");
        return CHIP_ERROR_INTERNAL;
    }

#if CONFIG_ALIRO_TRANSPORT_BLE
    const telink_aliro_ble_advertising_callbacks advertisingCallbacks = { StartAliroAdvertising, StopAliroAdvertising };

    if (telink_aliro_ble_init(&advertisingCallbacks) != 0)
    {
        return CHIP_ERROR_INTERNAL;
    }
#endif

    ReturnErrorOnFailure(LockMgr().RestoreUsers());
    ReturnErrorOnFailure(AliroDelegate::GetInstance().RestoreAliroState());
    ReturnErrorOnFailure(AliroDelegate::GetInstance().StartAliroTransports());

    return CHIP_NO_ERROR;
}

int AppTask::GetAliroLockState(enum telink_aliro_lock_state * state, void * context)
{
    (void) context;

    if (state == nullptr)
    {
        return -EINVAL;
    }

    const atomic_val_t pending = atomic_get(&sPendingAliroState);
    if (pending != kNoPendingAliroAction)
    {
        *state = static_cast<telink_aliro_lock_state>(pending);
        return 0;
    }

    switch (LockMgr().getLockState())
    {
    case LockManager::kState_LockCompleted:
        *state = TELINK_ALIRO_LOCK_STATE_SECURED;
        break;
    case LockManager::kState_UnlockCompleted:
        *state = TELINK_ALIRO_LOCK_STATE_UNSECURED;
        break;
    case LockManager::kState_LockInitiated:
        *state = TELINK_ALIRO_LOCK_STATE_BUSY_SECURED;
        break;
    case LockManager::kState_UnlockInitiated:
        *state = TELINK_ALIRO_LOCK_STATE_BUSY_UNSECURED;
        break;
    default:
        *state = TELINK_ALIRO_LOCK_STATE_JAMMED;
        break;
    }

    return 0;
}

int AppTask::RequestAliroLockState(enum telink_aliro_lock_state state, void * context)
{
    (void) context;

    if (state != TELINK_ALIRO_LOCK_STATE_SECURED && state != TELINK_ALIRO_LOCK_STATE_UNSECURED)
    {
        return -ENOTSUP;
    }

    const atomic_val_t busy = state == TELINK_ALIRO_LOCK_STATE_SECURED ? TELINK_ALIRO_LOCK_STATE_BUSY_SECURED
                                                                    : TELINK_ALIRO_LOCK_STATE_BUSY_UNSECURED;
    if (!atomic_cas(&sPendingAliroState, kNoPendingAliroAction, busy))
    {
        return -EBUSY;
    }

    const CHIP_ERROR err = chip::DeviceLayer::PlatformMgr().ScheduleWork(ApplyAliroLockState, static_cast<intptr_t>(state));
    if (err != CHIP_NO_ERROR)
    {
        LOG_ERR("Failed to schedule Aliro lock action: %" CHIP_ERROR_FORMAT, err.Format());
        atomic_set(&sPendingAliroState, kNoPendingAliroAction);
        return -ENOBUFS;
    }

    return 0;
}

int AppTask::AuthorizeAliroEndpoint(const uint8_t * publicKey, size_t publicKeySize, void * context)
{
    (void) context;

    if (publicKey == nullptr)
    {
        return -EINVAL;
    }

    chip::DeviceLayer::PlatformMgr().LockChipStack();
    const bool authorized = LockMgr().ValidateAliroEndpointKey(chip::ByteSpan(publicKey, publicKeySize));
    chip::DeviceLayer::PlatformMgr().UnlockChipStack();

    ChipLogProgress(Zcl, "[Aliro] Authenticated endpoint %s", authorized ? "accepted" : "rejected");

    return authorized ? 0 : -EACCES;
}

void AppTask::AliroLockActionEventHandler(AppEvent * event)
{
    if (event == nullptr)
    {
        return;
    }

    ApplyAliroLockState(event->DeviceEvent.Action);
}

void AppTask::LockActionEventHandler(AppEvent * aEvent)
{
    switch (LockMgr().getLockState())
    {
    case LockManager::kState_NotFulyLocked:
    case LockManager::kState_LockCompleted:
        LockMgr().LockAction(AppEvent::kEventType_DeviceAction, LockManager::UNLOCK_ACTION, LockManager::OperationSource::kButton,
                             kExampleEndpointId);
        break;
    case LockManager::kState_UnlockCompleted:
        LockMgr().LockAction(AppEvent::kEventType_DeviceAction, LockManager::LOCK_ACTION, LockManager::OperationSource::kButton,
                             kExampleEndpointId);
        break;
    default:
        LOG_INF("Lock is in intermediate state, ignoring button");
        break;
    }
}

void AppTask::LockStateChanged(LockManager::State_t state)
{
    switch (state)
    {
    case LockManager::State_t::kState_LockInitiated:
        LOG_INF("Callback: Lock action initiated");
        LedManager::getInstance().setLed(LedManager::EAppLed_App0, 50, 50);
        break;
    case LockManager::State_t::kState_LockCompleted:
        LOG_INF("Callback: Lock action completed");
        LedManager::getInstance().setLed(LedManager::EAppLed_App0, true);
        break;
    case LockManager::State_t::kState_UnlockInitiated:
        LOG_INF("Callback: Unlock action initiated");
        LedManager::getInstance().setLed(LedManager::EAppLed_App0, 50, 50);
        break;
    case LockManager::State_t::kState_UnlockCompleted:
        LOG_INF("Callback: Unlock action completed");
        LedManager::getInstance().setLed(LedManager::EAppLed_App0, false);
        break;
    case LockManager::State_t::kState_NotFulyLocked:
        LOG_INF("Callback: Lock not fully locked. Unexpected state");
        LedManager::getInstance().setLed(LedManager::EAppLed_App0, 10, 90);
        break;
    }
}

void AppTask::LinkButtons(ButtonManager & buttonManager)
{
    buttonManager.addCallback(FactoryResetButtonEventHandler, 0, true);
    buttonManager.addCallback(ExampleActionButtonEventHandler, 1, true);
}

void AppTask::LinkLeds(LedManager & ledManager)
{
#if CONFIG_CHIP_ENABLE_APPLICATION_STATUS_LED
    ledManager.linkLed(LedManager::EAppLed_Status, 0);
    ledManager.linkLed(LedManager::EAppLed_App0, 1);
#else
    ledManager.linkLed(LedManager::EAppLed_App0, 0);
#endif // CONFIG_CHIP_ENABLE_APPLICATION_STATUS_LED
}
```

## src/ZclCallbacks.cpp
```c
/*
 *
 *    Copyright (c) 2023-2024 Project CHIP Authors
 *    All rights reserved.
 *
 *    Licensed under the Apache License, Version 2.0 (the "License");
 *    you may not use this file except in compliance with the License.
 *    You may obtain a copy of the License at
 *
 *        http://www.apache.org/licenses/LICENSE-2.0
 *
 *    Unless required by applicable law or agreed to in writing, software
 *    distributed under the License is distributed on an "AS IS" BASIS,
 *    WITHOUT WARRANTIES OR CONDITIONS OF ANY KIND, either express or implied.
 *    See the License for the specific language governing permissions and
 *    limitations under the License.
 */

/**
 * @file
 *   This file implements the handler for data model messages.
 */

#include "AppConfig.h"
#include "LockManager.h"
#include <platform/CHIPDeviceLayer.h>

#include <app-common/zap-generated/ids/Attributes.h>
#include <app-common/zap-generated/ids/Clusters.h>
#include <app/ConcreteAttributePath.h>
#include <app/data-model/Nullable.h>
#include <lib/core/DataModelTypes.h>
#include <lib/support/logging/CHIPLogging.h>

using namespace ::chip::app::Clusters;
using namespace ::chip::DeviceLayer::Internal;
using ::chip::app::DataModel::Nullable;

void MatterPostAttributeChangeCallback(const chip::app::ConcreteAttributePath & attributePath, uint8_t type, uint16_t size,
                                       uint8_t * value)
{
    chip::ClusterId clusterId     = attributePath.mClusterId;
    chip::AttributeId attributeId = attributePath.mAttributeId;
    ChipLogProgress(Zcl, "Cluster callback: " ChipLogFormatMEI, ChipLogValueMEI(clusterId));

    if (clusterId == DoorLock::Id && attributeId == DoorLock::Attributes::LockState::Id)
    {
        DoorLock::DlLockState lockState = *(reinterpret_cast<DoorLock::DlLockState *>(value));
        ChipLogProgress(Zcl, "Door lock cluster: " ChipLogFormatMEI " state %d", ChipLogValueMEI(clusterId),
                        chip::to_underlying(lockState));
    }
}

/** @brief DoorLock Cluster Init
 *
 * This function is called when a specific cluster is initialized. It gives the
 * application an opportunity to take care of cluster initialization procedures.
 * It is called exactly once for each endpoint where cluster is present.
 *
 * @param endpoint   Ver.: always
 *
 */
void emberAfDoorLockClusterInitCallback(chip::EndpointId endpoint) {}

bool emberAfPluginDoorLockOnDoorLockCommand(chip::EndpointId endpointId, const Nullable<chip::FabricIndex> & fabricIdx,
                                            const Nullable<chip::NodeId> & nodeId, const Optional<chip::ByteSpan> & pinCode,
                                            OperationErrorEnum & err)
{
    ChipLogProgress(Zcl, "Matter LockDoor command rejected: direct lock control via Matter is disabled, "
                         "lock operations are exclusively handled through Aliro Access Protocol");

    err = chip::app::Clusters::DoorLock::OperationErrorEnum::kUnspecified;

    return false;
}

bool emberAfPluginDoorLockOnDoorUnlockCommand(chip::EndpointId endpointId, const Nullable<chip::FabricIndex> & fabricIdx,
                                              const Nullable<chip::NodeId> & nodeId, const Optional<chip::ByteSpan> & pinCode,
                                              OperationErrorEnum & err)
{
    ChipLogProgress(Zcl, "Matter UnlockDoor command rejected: direct unlock control via Matter is disabled, "
                         "unlock operations require successful authorization through Aliro Access Protocol");

    err = chip::app::Clusters::DoorLock::OperationErrorEnum::kUnspecified;

    return false;
}

bool emberAfPluginDoorLockGetCredential(chip::EndpointId endpointId, uint16_t credentialIndex, CredentialTypeEnum credentialType,
                                        EmberAfPluginDoorLockCredentialInfo & credential)
{
    return LockMgr().GetCredential(endpointId, credentialIndex, credentialType, credential);
}

bool emberAfPluginDoorLockSetCredential(chip::EndpointId endpointId, uint16_t credentialIndex, chip::FabricIndex creator,
                                        chip::FabricIndex modifier, DlCredentialStatus credentialStatus,
                                        CredentialTypeEnum credentialType, const chip::ByteSpan & credentialData)
{
    return LockMgr().SetCredential(endpointId, credentialIndex, creator, modifier, credentialStatus, credentialType,
                                   credentialData);
}

bool emberAfPluginDoorLockGetUser(chip::EndpointId endpointId, uint16_t userIndex, EmberAfPluginDoorLockUserInfo & user)
{
    return LockMgr().GetUser(endpointId, userIndex, user);
}

bool emberAfPluginDoorLockSetUser(chip::EndpointId endpointId, uint16_t userIndex, chip::FabricIndex creator,
                                  chip::FabricIndex modifier, const chip::CharSpan & userName, uint32_t uniqueId,
                                  UserStatusEnum userStatus, UserTypeEnum usertype, CredentialRuleEnum credentialRule,
                                  const CredentialStruct * credentials, size_t totalCredentials)
{

    return LockMgr().SetUser(endpointId, userIndex, creator, modifier, userName, uniqueId, userStatus, usertype, credentialRule,
                             credentials, totalCredentials);
}
```
